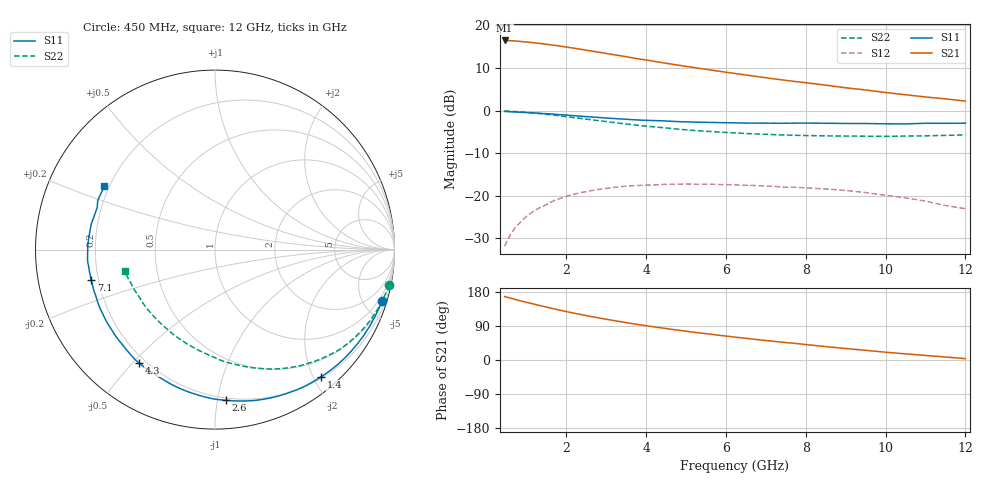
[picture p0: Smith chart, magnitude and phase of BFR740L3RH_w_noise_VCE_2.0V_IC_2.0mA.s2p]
! Infineon Technologies  Discrete & RF Semiconductors
! BFR740L3RH
! VCE =  2.0 V,  IC =  2.0 mA
! Common Emitter S-Parameters:  May 2012
# GHz  S  MA  R  50
!  f  S11  S21  S12  S22
! GHz  MAG  ANG  MAG  ANG  MAG  ANG  MAG  ANG
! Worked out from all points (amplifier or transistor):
!   85 points, 450 MHz to 12 GHz, reference 50 ohm
!   highest |S21| = 16.4 dB at 450 MHz (marker M1)
!   |S21| within 3 dB of that: start of sweep to 2.971 GHz
!   unconditionally stable (mu >= 1): 10.06 GHz to end of sweep
!   at 1.8 GHz: K = 0.10, MSG = 18.0 dB, |S12| = -20.8 dB
!   at 4.6 GHz: K = 0.27, MSG = 14.1 dB, |S12| = -17.3 dB
!   at 12 GHz: K = 1.74, MAG = 7.6 dB, |S12| = -23.0 dB
!   lowest NFmin = 0.30 dB at 450 MHz
!   S11 on the Smith chart (normalised r, x): 450 MHz: 0.54, -6.57; 1.4 GHz: 0.22, -2.11; 2.6 GHz: 0.18, -1.06; 4.3 GHz: 0.17, -0.52; 7.1 GHz: 0.17, -0.12; 12 GHz: 0.18, +0.26
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0.45  0.976 -17.2  6.626 167.5  0.0257 86.4  0.9907 -11.5
0.7  0.9623 -26.1  6.536 160.2  0.0416 71.7  0.9731 -17.5
0.9  0.9519 -33.2  6.418 154.8  0.0517 67.3  0.958 -22.2
1.2  0.9361 -43.5  6.218 147.1  0.0668 60.0  0.9328 -29.1
1.4  0.9229 -50.3  6.062 142.0  0.0753 56.3  0.9127 -33.6
1.7  0.9038 -60.0  5.811 134.7  0.0883 49.8  0.8819 -40.1
1.9  0.8898 -66.3  5.637 130.0  0.0952 46.0  0.858 -44.1
2.1  0.8758 -72.3  5.459 125.5  0.1019 41.7  0.8359 -47.9
2.4  0.8546 -80.8  5.179 119.2  0.1101 36.5  0.8033 -53.6
2.6  0.8418 -85.9  5.003 115.2  0.1145 32.9  0.7819 -57.0
3  0.8169 -96.3  4.667 107.5  0.1221 26.4  0.7416 -63.7
3.5  0.7896 -107.8  4.268 98.6  0.1298 19.0  0.695 -71.6
3.9  0.7704 -116.3  3.971 92.0  0.133 13.7  0.6631 -77.3
4.3  0.7602 -124.0  3.702 86.0  0.1347 8.8  0.6369 -82.8
4.7  0.745 -131.4  3.459 80.1  0.1371 4.3  0.6116 -88.2
5.3  0.7299 -141.4  3.134 71.9  0.1366 -2.5  0.5795 -95.7
6.3  0.7159 -155.8  2.688 59.5  0.134 -12.1  0.5441 -107.8
7.1  0.7101 -166.1  2.383 50.3  0.1294 -19.3  0.524 -117.4
8.5  0.7092 177.9  1.984 35.4  0.1204 -31.7  0.5043 -133.1
9.5  0.7041 168.5  1.741 25.5  0.1091 -40.0  0.5001 -143.6
10.5  0.6969 160.5  1.53 16.1  0.0947 -49.0  0.502 -153.4
12  0.7106 150.2  1.29 3.6  0.0707 -58.2  0.5176 -166.5
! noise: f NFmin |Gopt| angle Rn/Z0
0.45  0.3  0.73  4  0.25
0.9  0.33  0.7  17  0.24
1.5  0.38  0.66  30  0.23
1.9  0.42  0.66  38  0.22
2.4  0.48  0.64  47  0.21
3.5  0.61  0.6  68  0.19
5.5  0.87  0.65  98  0.16
8  1.18  0.59  137  0.09
10  1.42  0.62  161  0.04
12  1.65  0.69  -163  0.04
